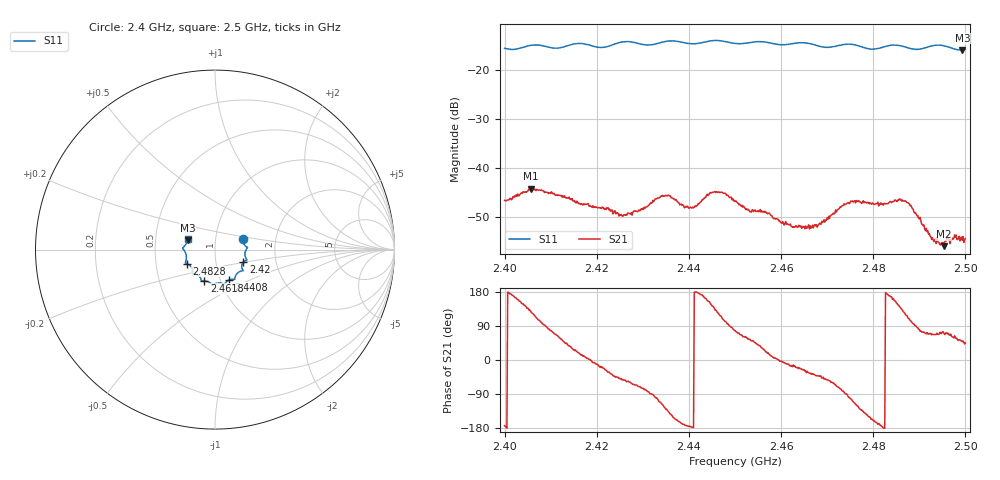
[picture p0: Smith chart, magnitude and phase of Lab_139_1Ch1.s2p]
# Hz S RI R 50
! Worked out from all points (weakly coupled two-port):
!   601 points, 2.4 GHz to 2.5 GHz, reference 50 ohm
!   highest |S21| = -44.26 dB at 2.4057 GHz (marker M1); lowest = -56.0 dB at 2.4953 GHz (marker M2)
!   lowest |S11| = -15.8 dB at 2.4993 GHz (marker M3), VSWR 1.38, Z = 36.6 + j3.89 ohm
!   |S11| at or under -10 dB: start of sweep to end of sweep
!   S12 and S22 are empty: the file has one direction only
!   S11 on the Smith chart (normalised r, x): 2.4 GHz: 1.36, +0.17; 2.42 GHz: 1.36, -0.19; 2.4408 GHz: 1.10, -0.39; 2.4618 GHz: 0.84, -0.30; 2.4828 GHz: 0.72, -0.12; 2.5 GHz: 0.73, +0.09
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2.4e9  0.1558 0.0618  -0.00463 -0.000543  0 0  0 0
2.405667e9  0.1794 0.013  -0.00377 0.00482  0 0  0 0
2.411333e9  0.1667 -0.0215  0.00223 0.00482  0 0  0 0
2.416667e9  0.1782 -0.0591  0.00421 0.00091  0 0  0 0
2.42e9  0.1582 -0.0693  0.00391 -0.00071  0 0  0 0
2.426e9  0.1571 -0.1171  0.00201 -0.00264  0 0  0 0
2.433333e9  0.112 -0.1519  -0.00132 -0.00474  0 0  0 0
2.4355e9  0.1107 -0.1653  -0.00377 -0.00369  0 0  0 0
2.440833e9  0.079 -0.1689  -0.00397 -0.000171  0 0  0 0
2.445167e9  0.053 -0.194  -0.00442 0.0035  0 0  0 0
2.45e9  0.0278 -0.1859  0.000952 0.00442  0 0  0 0
2.461833e9  -0.0602 -0.175  0.00252 -0.000675  0 0  0 0
2.466667e9  -0.077 -0.1684  0.002 -0.00142  0 0  0 0
2.4755e9  -0.1266 -0.1332  -0.00143 -0.00435  0 0  0 0
2.479667e9  -0.1324 -0.0971  -0.00388 -0.00172  0 0  0 0
2.482833e9  -0.1583 -0.0776  -0.00428 0.00035  0 0  0 0
2.483333e9  -0.1612 -0.0763  -0.0043 0.00077  0 0  0 0
2.487333e9  -0.1606 -0.0575  -0.00198 0.00395  0 0  0 0
2.492833e9  -0.1779 0.00376  0.000726 0.00178  0 0  0 0
2.495333e9  -0.1776 0.0127  0.000509 0.0015  0 0  0 0
2.499333e9  -0.1529 0.0518  0.00121 0.00135  0 0  0 0
2.5e9  -0.1516 0.0614  0.00134 0.00133  0 0  0 0
